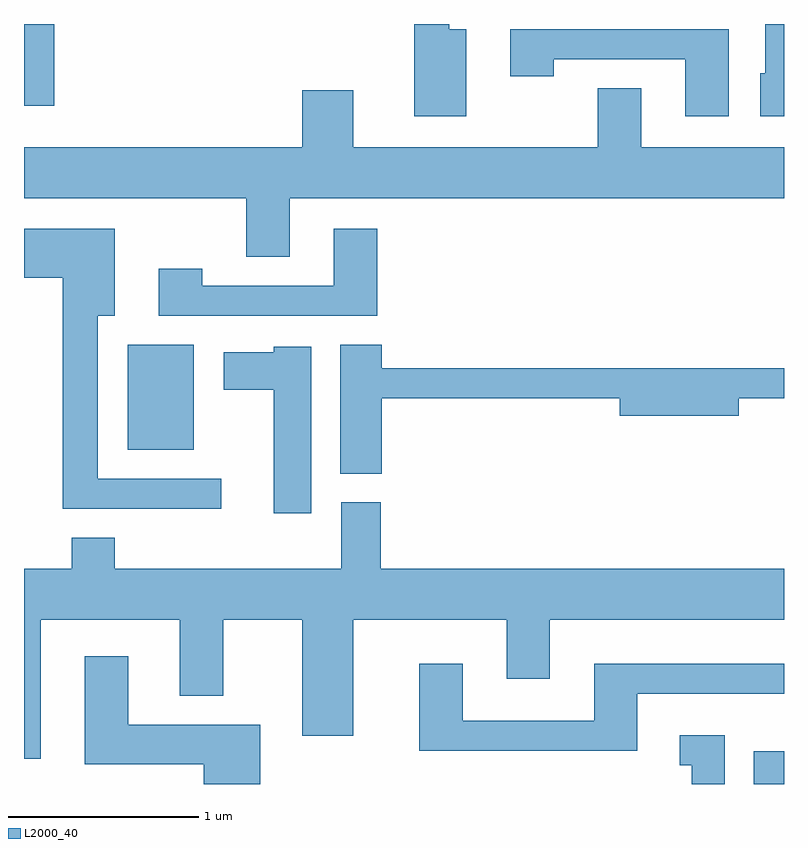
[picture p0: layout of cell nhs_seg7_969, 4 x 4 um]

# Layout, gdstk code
import gdstk
lib = gdstk.Library(unit=1e-6, precision=1e-09)
def R(c, l, rs):  # rectangles x0, y0, x1, y1
    for r in rs: c.add(gdstk.rectangle(r[:2], r[2:], *l))
def P(c, l, *ps):  # polygons
    for p in ps: c.add(gdstk.Polygon(p, *l))
L2000_40 = (2000, 40)

nhs_seg7_969 = lib.new_cell('nhs_seg7_969')
R(nhs_seg7_969, L2000_40, [(217.451,1802.252,217.611,1802.424), (214.156,1804.011,214.504,1804.564), (213.611,1805.823,213.769,1806.252)])
P(nhs_seg7_969, L2000_40, [(215.939,1806.224),(215.849,1806.224),(215.849,1806.252),(215.666,1806.252),(215.666,1805.766),(215.939,1805.766)],
  [(217.611,1806.252),(217.511,1806.252),(217.511,1805.994),(217.486,1805.994),(217.486,1805.766),(217.611,1805.766)],
  [(217.319,1806.224),(216.171,1806.224),(216.171,1805.976),(216.399,1805.976),(216.399,1806.066),(217.091,1806.066),(217.091,1805.766),(217.319,1805.766)],
  [(215.009,1805.336),(217.611,1805.336),(217.611,1805.604),(216.859,1805.604),(216.859,1805.914),(216.631,1805.914),(216.631,1805.604),(215.344,1805.604),(215.344,1805.904),(215.076,1805.904),(215.076,1805.604),(213.611,1805.604),(213.611,1805.336),(214.781,1805.336),(214.781,1805.026),(215.009,1805.026)],
  [(214.648,1803.859),(213.999,1803.859),(213.999,1804.716),(214.089,1804.716),(214.089,1805.174),(213.611,1805.174),(213.611,1804.916),(213.816,1804.916),(213.816,1803.701),(214.648,1803.701)],
  [(215.469,1805.174),(215.241,1805.174),(215.241,1804.874),(214.549,1804.874),(214.549,1804.964),(214.321,1804.964),(214.321,1804.716),(215.469,1804.716)],
  [(215.494,1804.281),(216.746,1804.281),(216.746,1804.191),(217.374,1804.191),(217.374,1804.281),(217.611,1804.281),(217.611,1804.439),(215.494,1804.439),(215.494,1804.564),(215.276,1804.564),(215.276,1803.886),(215.494,1803.886)],
  [(215.124,1804.554),(214.926,1804.554),(214.926,1804.524),(214.661,1804.524),(214.661,1804.326),(214.926,1804.326),(214.926,1803.676),(215.124,1803.676)],
  [(213.699,1803.116),(214.431,1803.116),(214.431,1802.716),(214.659,1802.716),(214.659,1803.116),(215.076,1803.116),(215.076,1802.506),(215.344,1802.506),(215.344,1803.116),(216.151,1803.116),(216.151,1802.806),(216.379,1802.806),(216.379,1803.116),(217.611,1803.116),(217.611,1803.384),(215.489,1803.384),(215.489,1803.734),(215.281,1803.734),(215.281,1803.384),(214.089,1803.384),(214.089,1803.549),(213.861,1803.549),(213.861,1803.384),(213.611,1803.384),(213.611,1802.386),(213.699,1802.386)],
  [(214.854,1802.564),(214.159,1802.564),(214.159,1802.924),(213.931,1802.924),(213.931,1802.356),(214.556,1802.356),(214.556,1802.252),(214.854,1802.252)],
  [(216.839,1802.726),(217.611,1802.726),(217.611,1802.884),(216.611,1802.884),(216.611,1802.584),(215.919,1802.584),(215.919,1802.884),(215.691,1802.884),(215.691,1802.426),(216.839,1802.426)],
  [(217.299,1802.509),(217.063,1802.509),(217.063,1802.351),(217.126,1802.351),(217.126,1802.252),(217.299,1802.252)])

lib.write_gds('nhs_seg7_969.gds')
